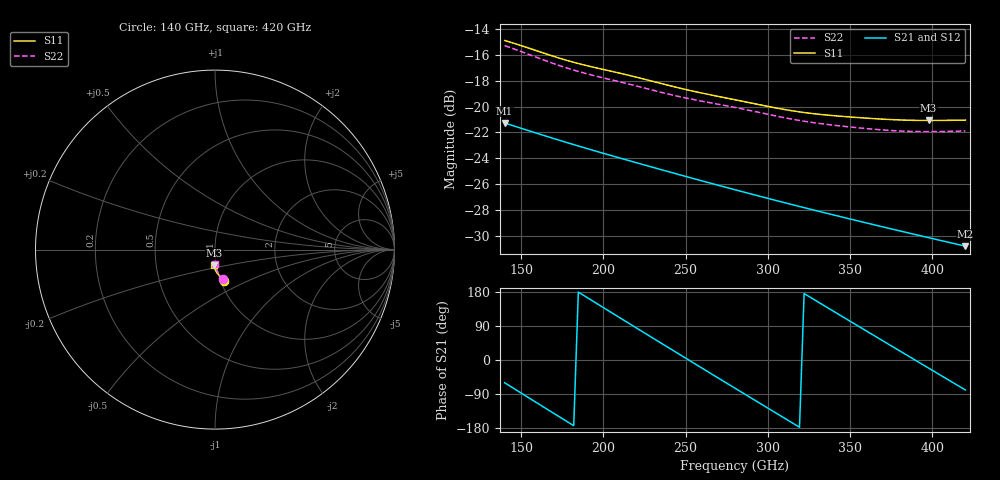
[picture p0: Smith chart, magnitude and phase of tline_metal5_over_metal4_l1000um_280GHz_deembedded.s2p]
! Created with skrf 2.2.0 (http://scikit-rf.org).
# GHz S DB R 50.0
! Port[1] = P1
! Port[2] = P2
!freq dBS11 angS11 dBS21 angS21 dBS12 angS12 dBS22 angS22
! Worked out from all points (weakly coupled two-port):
!   101 points, 140 GHz to 420 GHz, reference 50 ohm
!   highest |S21| = -21.26 dB at 140 GHz (marker M1); lowest = -30.8 dB at 420 GHz (marker M2)
!   lowest |S11| = -21.1 dB at 397.6 GHz (marker M3), VSWR 1.19, Z = 48.9 - j8.71 ohm
!   |S11| at or under -10 dB: start of sweep to end of sweep
!   |S22| runs from -21.9 to -15.3 dB; largest |S21 - S12| = 1.3e-13
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140  -14.91 -73.4  -21.26 -60.0  -21.26 -60.0  -15.30 -75.0
148.4  -15.24 -75.1  -21.61 -82.8  -21.61 -82.8  -15.69 -76.5
159.6  -15.71 -77.2  -22.06 -113.0  -22.06 -113.0  -16.22 -78.3
173.6  -16.28 -79.3  -22.61 -150.8  -22.61 -150.8  -16.86 -79.9
187.6  -16.78 -80.9  -23.15 171.6  -23.15 171.6  -17.40 -81.1
201.6  -17.19 -82.7  -23.66 134.1  -23.66 134.1  -17.84 -82.4
212.8  -17.51 -84.2  -24.07 104.1  -24.07 104.1  -18.19 -83.7
224  -17.86 -85.8  -24.47 74.1  -24.47 74.1  -18.55 -84.9
235.2  -18.23 -87.1  -24.87 44.3  -24.87 44.3  -18.91 -85.9
246.4  -18.58 -88.2  -25.26 14.5  -25.26 14.5  -19.24 -86.6
254.8  -18.82 -88.8  -25.55 -7.8  -25.55 -7.8  -19.46 -87.1
268.8  -19.19 -89.8  -26.03 -44.9  -26.03 -44.9  -19.80 -88.1
280  -19.48 -90.6  -26.41 -74.4  -26.41 -74.4  -20.07 -89.0
291.2  -19.77 -91.2  -26.79 -103.9  -26.79 -103.9  -20.36 -89.8
305.2  -20.12 -91.6  -27.25 -140.7  -27.25 -140.7  -20.74 -90.4
316.4  -20.36 -91.7  -27.61 -170.1  -27.61 -170.1  -21.01 -90.5
327.6  -20.55 -91.6  -27.97 160.6  -27.97 160.6  -21.24 -90.5
350  -20.81 -91.5  -28.67 102.2  -28.67 102.2  -21.58 -90.4
361.2  -20.91 -91.6  -29.01 73.1  -29.01 73.1  -21.71 -90.4
375.2  -21.01 -91.7  -29.44 36.7  -29.44 36.7  -21.85 -90.2
397.6  -21.07 -91.9  -30.11 -21.3  -30.11 -21.3  -21.94 -90.0
420  -21.05 -92.7  -30.76 -79.1  -30.76 -79.1  -21.88 -90.5
